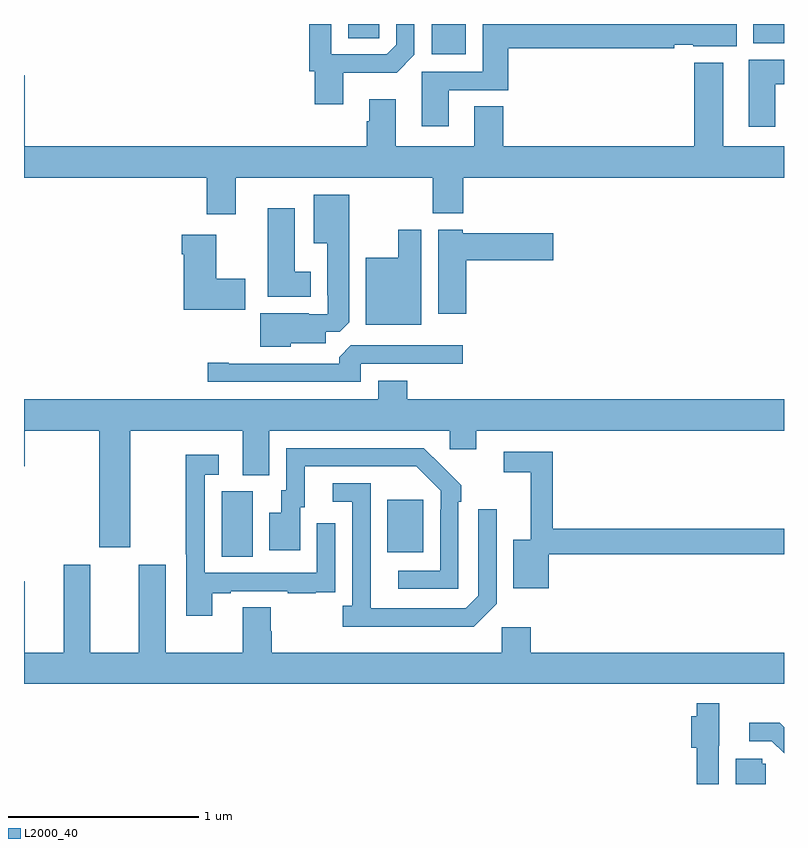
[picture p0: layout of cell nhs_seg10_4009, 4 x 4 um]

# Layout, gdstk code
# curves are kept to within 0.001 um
import gdstk
lib = gdstk.Library(unit=1e-6, precision=1e-09)
def R(c, l, rs):  # rectangles x0, y0, x1, y1
    for r in rs: c.add(gdstk.rectangle(r[:2], r[2:], *l))
def P(c, l, *ps):  # polygons
    for p in ps: c.add(gdstk.Polygon(p, *l))
L2000_40 = (2000, 40)

nhs_seg10_4009 = lib.new_cell('nhs_seg10_4009')
R(nhs_seg10_4009, L2000_40, [(334.04,1255.696,334.204,1256.04), (334.913,1255.721,335.101,1255.996), (335.147,1258.34,335.326,1258.5), (336.839,1258.4,337,1258.5), (334.707,1258.426,334.869,1258.5)])
P(nhs_seg10_4009, L2000_40, [(335.236,1258.152),(335.549,1258.152),(335.549,1258.372),(336.422,1258.372),(336.422,1258.392),(336.522,1258.392),(336.522,1258.382),(336.751,1258.382),(336.751,1258.5),(335.414,1258.5),(335.414,1258.248),(335.093,1258.248),(335.093,1257.963),(335.236,1257.963)],
  [(334.681,1258.244),(334.961,1258.244),(335.055,1258.338),(335.055,1258.5),(334.959,1258.5),(334.959,1258.392),(334.908,1258.341),(334.617,1258.341),(334.617,1258.5),(334.501,1258.5),(334.501,1258.251),(334.529,1258.251),(334.529,1258.077),(334.681,1258.077)],
  [(336.955,1258.184),(337,1258.184),(337,1258.312),(336.815,1258.312),(336.815,1257.96),(336.955,1257.96)],
  [(334.114,1257.692),(335.152,1257.692),(335.152,1257.503),(335.312,1257.503),(335.312,1257.692),(337,1257.692),(337,1257.856),(336.679,1257.856),(336.679,1258.297),(336.527,1258.297),(336.527,1257.856),(335.522,1257.856),(335.522,1258.067),(335.369,1258.067),(335.369,1257.856),(334.957,1257.856),(334.957,1258.105),(334.817,1258.105),(334.817,1257.989),(334.805,1257.989),(334.805,1257.856),(333.004,1257.856),(333.004,1258.231),(333,1258.231),(333,1257.692),(333.962,1257.692),(333.962,1257.498),(334.114,1257.498)],
  [(334.404,1256.819),(334.588,1256.819),(334.588,1256.88),(334.662,1256.88),(334.711,1256.929),(334.711,1257.601),(334.526,1257.601),(334.526,1257.347),(334.595,1257.347),(334.595,1257.073),(334.599,1257.073),(334.599,1256.973),(334.499,1256.973),(334.499,1256.977),(334.244,1256.977),(334.244,1256.801),(334.404,1256.801)],
  [(334.51,1257.196),(334.426,1257.196),(334.426,1257.529),(334.283,1257.529),(334.283,1257.065),(334.51,1257.065)],
  [(335.092,1257.418),(334.97,1257.418),(334.97,1257.271),(334.799,1257.271),(334.799,1256.918),(335.092,1256.918)],
  [(335.327,1257.257),(335.785,1257.257),(335.785,1257.399),(335.31,1257.399),(335.31,1257.418),(335.18,1257.418),(335.18,1256.976),(335.327,1256.976)],
  [(334.165,1257.159),(334.012,1257.159),(334.012,1257.391),(333.83,1257.391),(333.83,1257.287),(333.842,1257.287),(333.842,1256.996),(334.165,1256.996)],
  [(334.773,1256.712),(335.308,1256.712),(335.308,1256.808),(334.719,1256.808),(334.658,1256.746),(334.658,1256.712),(334.078,1256.712),(334.078,1256.717),(333.966,1256.717),(333.966,1256.616),(334.773,1256.616)],
  [(333.559,1256.36),(334.151,1256.36),(334.151,1256.125),(334.291,1256.125),(334.291,1256.36),(335.241,1256.36),(335.241,1256.262),(335.38,1256.262),(335.38,1256.36),(337,1256.36),(337,1256.524),(335.018,1256.524),(335.018,1256.623),(334.865,1256.623),(334.865,1256.524),(333,1256.524),(333,1256.172),(333.004,1256.172),(333.004,1256.36),(333.395,1256.36),(333.395,1255.746),(333.559,1255.746)],
  [(335.286,1255.985),(335.301,1255.985),(335.301,1256.073),(335.104,1256.268),(334.38,1256.268),(334.38,1256.046),(334.355,1256.046),(334.355,1255.927),(334.292,1255.927),(334.292,1255.731),(334.453,1255.731),(334.453,1255.956),(334.477,1255.956),(334.477,1256.172),(335.065,1256.172),(335.193,1256.043),(335.193,1255.943),(335.19,1255.943),(335.19,1255.623),(334.971,1255.623),(334.971,1255.527),(335.286,1255.527)],
  [(335.763,1255.708),(337,1255.708),(337,1255.844),(335.783,1255.844),(335.783,1256.25),(335.526,1256.25),(335.526,1256.142),(335.666,1256.142),(335.666,1255.786),(335.576,1255.786),(335.576,1255.529),(335.763,1255.529)],
  [(333.991,1255.503),(334.087,1255.503),(334.087,1255.515),(334.387,1255.515),(334.387,1255.503),(334.535,1255.503),(334.535,1255.509),(334.637,1255.509),(334.637,1255.618),(334.638,1255.618),(334.638,1255.873),(334.542,1255.873),(334.542,1255.611),(333.951,1255.611),(333.951,1256.127),(334.024,1256.127),(334.024,1256.233),(333.85,1256.233),(333.85,1255.708),(333.855,1255.708),(333.855,1255.386),(333.991,1255.386)],
  [(335.487,1255.449),(335.487,1255.945),(335.391,1255.945),(335.391,1255.491),(335.325,1255.425),(334.825,1255.425),(334.824,1256.082),(334.626,1256.082),(334.626,1255.986),(334.728,1255.986),(334.728,1255.438),(334.677,1255.438),(334.677,1255.328),(335.366,1255.328)],
  [(337,1255.192),(335.666,1255.192),(335.666,1255.324),(335.514,1255.324),(335.514,1255.192),(334.304,1255.192),(334.304,1255.305),(334.299,1255.305),(334.299,1255.43),(334.151,1255.43),(334.151,1255.192),(333.745,1255.192),(333.745,1255.654),(333.605,1255.654),(333.605,1255.192),(333.349,1255.192),(333.349,1255.654),(333.209,1255.654),(333.209,1255.192),(333.004,1255.192),(333.004,1255.567),(333,1255.567),(333,1255.028),(337,1255.028)],
  [(336.657,1254.702),(336.658,1254.702),(336.658,1254.925),(336.541,1254.925),(336.541,1254.856),(336.512,1254.856),(336.512,1254.691),(336.541,1254.691),(336.541,1254.5),(336.657,1254.5)],
  [(337,1254.8),(336.977,1254.823),(336.816,1254.823),(336.816,1254.726),(336.936,1254.726),(337,1254.662)],
  [(336.904,1254.606),(336.885,1254.606),(336.885,1254.633),(336.746,1254.633),(336.746,1254.5),(336.904,1254.5)])

lib.write_gds('nhs_seg10_4009.gds')
